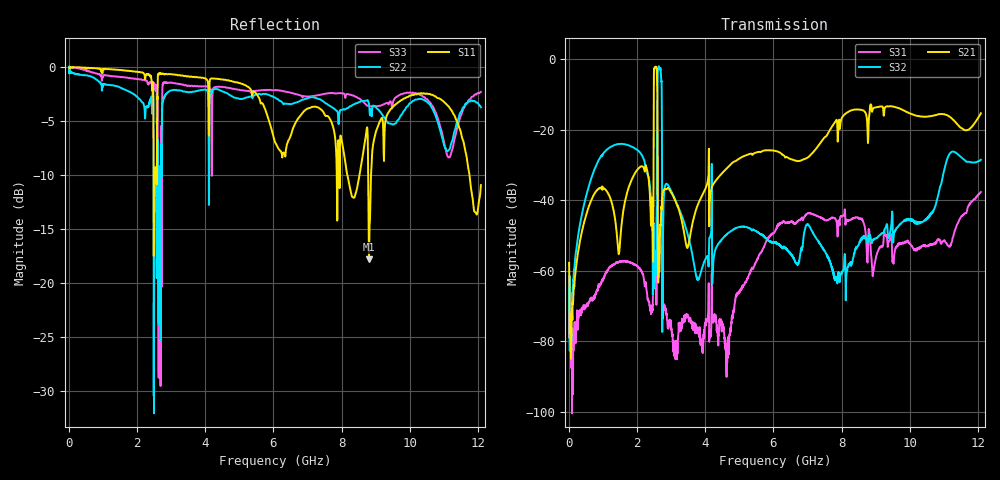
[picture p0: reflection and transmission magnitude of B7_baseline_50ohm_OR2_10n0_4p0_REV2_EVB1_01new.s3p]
! Channel 1
! Ports=123
! Points=2329
! Topology=ALL_SE(123)
# MHz S DB R 50
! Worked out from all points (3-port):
!   2329 points, 10 MHz to 12.08 GHz, reference 50 ohm
!   strongest paths, dB at 10 MHz, 2.504 GHz, 4.222 GHz, 7.132 GHz, 12.08 GHz:
!     S21: -57.7, -2.7, -35.7, -26.7, -15.3
!     S32: -63.5, -58.7, -59.9, -48.7, -28.5
!     S31: -71.7, -55.6, -74.0, -43.9, -37.6
!   lowest |S11| = -17.8 dB at 8.798 GHz (marker M1), VSWR 1.30, Z = 47.9 - j12.5 ohm
!   |S11| at or under -10 dB: 8.163 GHz to 8.522 GHz (358.9 MHz wide, 4.3 % of centre); 8.774 GHz to 8.858 GHz (84.13 MHz wide, 0.954 % of centre); 11.74 GHz to end of sweep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
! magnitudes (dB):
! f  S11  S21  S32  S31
! 10 MHz  -0.1  -57.7  -63.5  -71.7
! 1.25 GHz  -0.2  -40.3  -24.7  -58.5
! 2.47 GHz  -1.6  -57.1  -56.0  -64.8
! 2.536 GHz  -9.3  -2.2  -54.4  -59.0
! 2.635 GHz  -0.6  -58.7  -2.0  -60.0
! 2.716 GHz  -0.7  -41.8  -6.4  -49.7
! 2.749 GHz  -0.6  -38.2  -58.0  -73.0
! 6.047 GHz  -7.0  -26.0  -52.1  -48.6
! 8.798 GHz  -17.8  -16.6  -50.1  -48.3
! 12.08 GHz  -11.0  -15.3  -28.5  -37.6
